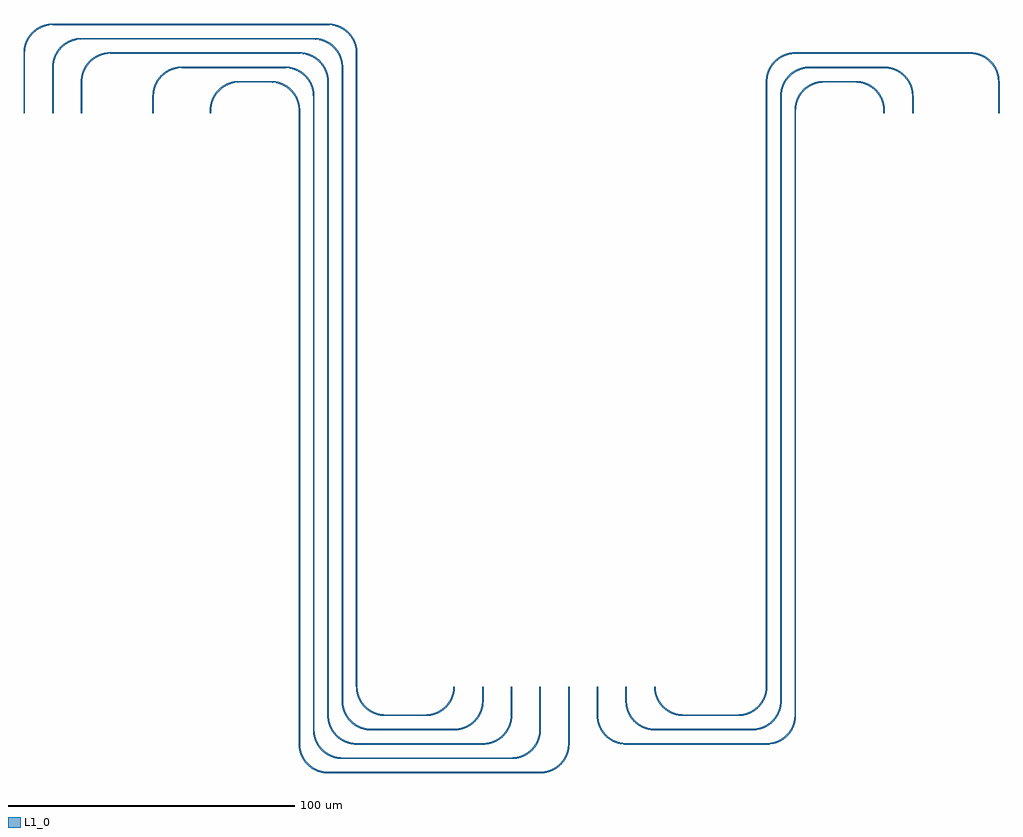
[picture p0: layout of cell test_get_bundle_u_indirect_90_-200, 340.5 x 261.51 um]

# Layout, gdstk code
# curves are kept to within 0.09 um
from math import pi, radians
import gdstk
lib = gdstk.Library(unit=1e-6, precision=1e-09)
def R(c, l, rs):  # rectangles x0, y0, x1, y1
    for r in rs: c.add(gdstk.rectangle(r[:2], r[2:], *l))
def P(c, l, *ps):  # polygons
    for p in ps: c.add(gdstk.Polygon(p, *l))
L1_0 = (1, 0)

bend_circular_cross_sec_ = lib.new_cell('bend_circular_cross_sec_81c7ebae')
P(bend_circular_cross_sec_, L1_0, [(0,-0.25),(1.967,-0.06),(3.013,0.203),(3.943,0.539),(5.685,1.471),(7.216,2.72),(8.479,4.24),(9.037,5.163),(9.461,6.057),(9.797,6.987),(10.06,8.033),(10.25,10),(9.75,10),(9.687,8.89),(9.516,7.878),(9.185,6.728),(8.79,5.781),(7.968,4.38),(6.924,3.136),(5.62,2.032),(4.219,1.21),(3.272,0.815),(2.122,0.484),(1.11,0.313),(0,0.25)])

straight_cross_sectionc_ = lib.new_cell('straight_cross_sectionc_981d968f')
R(straight_cross_sectionc_, L1_0, [(0,-0.25,1,0.25)])

c_straight_cross_sectionc_ = lib.new_cell('straight_cross_sectionc_3bfae81e')
R(c_straight_cross_sectionc_, L1_0, [(0,-0.25,11,0.25)])

taper_cross_sectioncros_ = lib.new_cell('taper_cross_sectioncros_b20f334d')
R(taper_cross_sectioncros_, L1_0, [(0,-0.25,10,0.25)])

c_straight_cross_sectionc__ = lib.new_cell('straight_cross_sectionc_7d43c82a')
R(c_straight_cross_sectionc__, L1_0, [(0,-0.25,201.01,0.25)])

c_straight_cross_sectionc___ = lib.new_cell('straight_cross_sectionc_c1e306bd')
R(c_straight_cross_sectionc___, L1_0, [(0,-0.25,74,0.25)])

c_straight_cross_sectionc____ = lib.new_cell('straight_cross_sectionc_2ac3342b')
R(c_straight_cross_sectionc____, L1_0, [(0,-0.25,20.01,0.25)])

c_straight_cross_sectionc_____ = lib.new_cell('straight_cross_sectionc_c2cb5401')
R(c_straight_cross_sectionc_____, L1_0, [(0,-0.25,6,0.25)])

c_straight_cross_sectionc______ = lib.new_cell('straight_cross_sectionc_0ec981f1')
R(c_straight_cross_sectionc______, L1_0, [(0,-0.25,36,0.25)])

c_straight_cross_sectionc_______ = lib.new_cell('straight_cross_sectionc_a4d4ab79')
R(c_straight_cross_sectionc_______, L1_0, [(0,-0.25,59,0.25)])

c_straight_cross_sectionc________ = lib.new_cell('straight_cross_sectionc_7b91e607')
R(c_straight_cross_sectionc________, L1_0, [(0,-0.25,15.01,0.25)])

c_straight_cross_sectionc_________ = lib.new_cell('straight_cross_sectionc_f73a8d03')
R(c_straight_cross_sectionc_________, L1_0, [(0,-0.25,66,0.25)])

c_straight_cross_sectionc__________ = lib.new_cell('straight_cross_sectionc_fb475268')
R(c_straight_cross_sectionc__________, L1_0, [(0,-0.25,44,0.25)])

c_straight_cross_sectionc___________ = lib.new_cell('straight_cross_sectionc_236e7ba1')
R(c_straight_cross_sectionc___________, L1_0, [(0,-0.25,10.01,0.25)])

c_straight_cross_sectionc____________ = lib.new_cell('straight_cross_sectionc_4dc3096f')
R(c_straight_cross_sectionc____________, L1_0, [(0,-0.25,16,0.25)])

c_straight_cross_sectionc_____________ = lib.new_cell('straight_cross_sectionc_ba59d4af')
R(c_straight_cross_sectionc_____________, L1_0, [(0,-0.25,81,0.25)])

c_straight_cross_sectionc______________ = lib.new_cell('straight_cross_sectionc_4d3a82f3')
R(c_straight_cross_sectionc______________, L1_0, [(0,-0.25,29,0.25)])

c_straight_cross_sectionc_______________ = lib.new_cell('straight_cross_sectionc_0009f424')
R(c_straight_cross_sectionc_______________, L1_0, [(0,-0.25,5.01,0.25)])

c_straight_cross_sectionc________________ = lib.new_cell('straight_cross_sectionc_a21244ff')
R(c_straight_cross_sectionc________________, L1_0, [(0,-0.25,21,0.25)])

c_straight_cross_sectionc_________________ = lib.new_cell('straight_cross_sectionc_aa92eca9')
R(c_straight_cross_sectionc_________________, L1_0, [(0,-0.25,96,0.25)])

c_straight_cross_sectionc__________________ = lib.new_cell('straight_cross_sectionc_eaa17bd6')
R(c_straight_cross_sectionc__________________, L1_0, [(0,-0.25,14,0.25)])

c_straight_cross_sectionc___________________ = lib.new_cell('straight_cross_sectionc_aca44847')
R(c_straight_cross_sectionc___________________, L1_0, [(0,-0.25,0.01,0.25)])

c_straight_cross_sectionc____________________ = lib.new_cell('straight_cross_sectionc_cb293eb2')
R(c_straight_cross_sectionc____________________, L1_0, [(0,-0.25,191.01,0.25)])

c_straight_cross_sectionc_____________________ = lib.new_cell('straight_cross_sectionc_45e74be2')
R(c_straight_cross_sectionc_____________________, L1_0, [(0,-0.25,49,0.25)])

c_straight_cross_sectionc______________________ = lib.new_cell('straight_cross_sectionc_ff50ec07')
R(c_straight_cross_sectionc______________________, L1_0, [(0,-0.25,26,0.25)])

c_straight_cross_sectionc_______________________ = lib.new_cell('straight_cross_sectionc_4966bfe5')
R(c_straight_cross_sectionc_______________________, L1_0, [(0,-0.25,34,0.25)])

c_straight_cross_sectionc________________________ = lib.new_cell('straight_cross_sectionc_015bde30')
R(c_straight_cross_sectionc________________________, L1_0, [(0,-0.25,61,0.25)])

c_straight_cross_sectionc_________________________ = lib.new_cell('straight_cross_sectionc_d4a4d71d')
R(c_straight_cross_sectionc_________________________, L1_0, [(0,-0.25,19,0.25)])

test_get_bundle_u_indire = lib.new_cell('test_get_bundle_u_indirect_90_-200')
test_get_bundle_u_indire.add(gdstk.Reference(bend_circular_cross_sec_, (-35,1), rotation=pi/2, x_reflection=True))
test_get_bundle_u_indire.add(gdstk.Reference(bend_circular_cross_sec_, (-14,11), x_reflection=True))
test_get_bundle_u_indire.add(gdstk.Reference(bend_circular_cross_sec_, (-4,-220.01), rotation=3*pi/2))
test_get_bundle_u_indire.add(gdstk.Reference(bend_circular_cross_sec_, (80,-230.01)))
test_get_bundle_u_indire.add(gdstk.Reference(straight_cross_sectionc_, (-35,0), rotation=pi/2))
test_get_bundle_u_indire.add(gdstk.Reference(c_straight_cross_sectionc_, (-25,11)))
test_get_bundle_u_indire.add(gdstk.Reference(taper_cross_sectioncros_, (-4,1), rotation=3*pi/2))
test_get_bundle_u_indire.add(gdstk.Reference(c_straight_cross_sectionc__, (-4,-9), rotation=3*pi/2))
test_get_bundle_u_indire.add(gdstk.Reference(taper_cross_sectioncros_, (-4,-220.01), rotation=pi/2))
test_get_bundle_u_indire.add(gdstk.Reference(c_straight_cross_sectionc___, (6,-230.01)))
test_get_bundle_u_indire.add(gdstk.Reference(c_straight_cross_sectionc____, (90,-220.01), rotation=pi/2))
test_get_bundle_u_indire.add(gdstk.Reference(bend_circular_cross_sec_, (-55,6), rotation=pi/2, x_reflection=True))
test_get_bundle_u_indire.add(gdstk.Reference(bend_circular_cross_sec_, (-9,16), x_reflection=True))
test_get_bundle_u_indire.add(gdstk.Reference(bend_circular_cross_sec_, (1,-215.01), rotation=3*pi/2))
test_get_bundle_u_indire.add(gdstk.Reference(bend_circular_cross_sec_, (70,-225.01)))
test_get_bundle_u_indire.add(gdstk.Reference(c_straight_cross_sectionc_____, (-55,0), rotation=pi/2))
test_get_bundle_u_indire.add(gdstk.Reference(c_straight_cross_sectionc______, (-45,16)))
test_get_bundle_u_indire.add(gdstk.Reference(taper_cross_sectioncros_, (1,6), rotation=3*pi/2))
test_get_bundle_u_indire.add(gdstk.Reference(c_straight_cross_sectionc__, (1,-4), rotation=3*pi/2))
test_get_bundle_u_indire.add(gdstk.Reference(taper_cross_sectioncros_, (1,-215.01), rotation=pi/2))
test_get_bundle_u_indire.add(gdstk.Reference(c_straight_cross_sectionc_______, (11,-225.01)))
test_get_bundle_u_indire.add(gdstk.Reference(c_straight_cross_sectionc________, (80,-215.01), rotation=pi/2))
test_get_bundle_u_indire.add(gdstk.Reference(bend_circular_cross_sec_, (-80,11), rotation=pi/2, x_reflection=True))
test_get_bundle_u_indire.add(gdstk.Reference(bend_circular_cross_sec_, (-4,21), x_reflection=True))
test_get_bundle_u_indire.add(gdstk.Reference(bend_circular_cross_sec_, (6,-210.01), rotation=3*pi/2))
test_get_bundle_u_indire.add(gdstk.Reference(bend_circular_cross_sec_, (60,-220.01)))
test_get_bundle_u_indire.add(gdstk.Reference(c_straight_cross_sectionc_, (-80,0), rotation=pi/2))
test_get_bundle_u_indire.add(gdstk.Reference(c_straight_cross_sectionc_________, (-70,21)))
test_get_bundle_u_indire.add(gdstk.Reference(taper_cross_sectioncros_, (6,11), rotation=3*pi/2))
test_get_bundle_u_indire.add(gdstk.Reference(c_straight_cross_sectionc__, (6,1), rotation=3*pi/2))
test_get_bundle_u_indire.add(gdstk.Reference(taper_cross_sectioncros_, (6,-210.01), rotation=pi/2))
test_get_bundle_u_indire.add(gdstk.Reference(c_straight_cross_sectionc__________, (16,-220.01)))
test_get_bundle_u_indire.add(gdstk.Reference(c_straight_cross_sectionc___________, (70,-210.01), rotation=pi/2))
test_get_bundle_u_indire.add(gdstk.Reference(bend_circular_cross_sec_, (-90,16), rotation=pi/2, x_reflection=True))
test_get_bundle_u_indire.add(gdstk.Reference(bend_circular_cross_sec_, (1,26), x_reflection=True))
test_get_bundle_u_indire.add(gdstk.Reference(bend_circular_cross_sec_, (11,-205.01), rotation=3*pi/2))
test_get_bundle_u_indire.add(gdstk.Reference(bend_circular_cross_sec_, (50,-215.01)))
test_get_bundle_u_indire.add(gdstk.Reference(c_straight_cross_sectionc____________, (-90,0), rotation=pi/2))
test_get_bundle_u_indire.add(gdstk.Reference(c_straight_cross_sectionc_____________, (-80,26)))
test_get_bundle_u_indire.add(gdstk.Reference(taper_cross_sectioncros_, (11,16), rotation=3*pi/2))
test_get_bundle_u_indire.add(gdstk.Reference(c_straight_cross_sectionc__, (11,6), rotation=3*pi/2))
test_get_bundle_u_indire.add(gdstk.Reference(taper_cross_sectioncros_, (11,-205.01), rotation=pi/2))
test_get_bundle_u_indire.add(gdstk.Reference(c_straight_cross_sectionc______________, (21,-215.01)))
test_get_bundle_u_indire.add(gdstk.Reference(c_straight_cross_sectionc_______________, (60,-205.01), rotation=pi/2))
test_get_bundle_u_indire.add(gdstk.Reference(bend_circular_cross_sec_, (-100,21), rotation=pi/2, x_reflection=True))
test_get_bundle_u_indire.add(gdstk.Reference(bend_circular_cross_sec_, (6,31), x_reflection=True))
test_get_bundle_u_indire.add(gdstk.Reference(bend_circular_cross_sec_, (16,-200.01), rotation=3*pi/2))
test_get_bundle_u_indire.add(gdstk.Reference(bend_circular_cross_sec_, (40,-210.01)))
test_get_bundle_u_indire.add(gdstk.Reference(c_straight_cross_sectionc________________, (-100,0), rotation=pi/2))
test_get_bundle_u_indire.add(gdstk.Reference(c_straight_cross_sectionc_________________, (-90,31)))
test_get_bundle_u_indire.add(gdstk.Reference(taper_cross_sectioncros_, (16,21), rotation=3*pi/2))
test_get_bundle_u_indire.add(gdstk.Reference(c_straight_cross_sectionc__, (16,11), rotation=3*pi/2))
test_get_bundle_u_indire.add(gdstk.Reference(taper_cross_sectioncros_, (16,-200.01), rotation=pi/2))
test_get_bundle_u_indire.add(gdstk.Reference(c_straight_cross_sectionc__________________, (26,-210.01)))
test_get_bundle_u_indire.add(gdstk.Reference(c_straight_cross_sectionc___________________, (50,-200.01), rotation=pi/2))
test_get_bundle_u_indire.add(gdstk.Reference(bend_circular_cross_sec_, (200,1), rotation=pi/2))
test_get_bundle_u_indire.add(gdstk.Reference(bend_circular_cross_sec_, (179,11), rotation=pi))
test_get_bundle_u_indire.add(gdstk.Reference(bend_circular_cross_sec_, (169,-210.01), rotation=3*pi/2, x_reflection=True))
test_get_bundle_u_indire.add(gdstk.Reference(bend_circular_cross_sec_, (110,-220.01), rotation=pi, x_reflection=True))
test_get_bundle_u_indire.add(gdstk.Reference(straight_cross_sectionc_, (200,0), rotation=pi/2))
test_get_bundle_u_indire.add(gdstk.Reference(c_straight_cross_sectionc_, (190,11), rotation=pi))
test_get_bundle_u_indire.add(gdstk.Reference(taper_cross_sectioncros_, (169,1), rotation=3*pi/2))
test_get_bundle_u_indire.add(gdstk.Reference(c_straight_cross_sectionc____________________, (169,-9), rotation=3*pi/2))
test_get_bundle_u_indire.add(gdstk.Reference(taper_cross_sectioncros_, (169,-210.01), rotation=pi/2))
test_get_bundle_u_indire.add(gdstk.Reference(c_straight_cross_sectionc_____________________, (159,-220.01), rotation=pi))
test_get_bundle_u_indire.add(gdstk.Reference(c_straight_cross_sectionc___________, (100,-210.01), rotation=pi/2))
test_get_bundle_u_indire.add(gdstk.Reference(bend_circular_cross_sec_, (210,6), rotation=pi/2))
test_get_bundle_u_indire.add(gdstk.Reference(bend_circular_cross_sec_, (174,16), rotation=pi))
test_get_bundle_u_indire.add(gdstk.Reference(bend_circular_cross_sec_, (164,-205.01), rotation=3*pi/2, x_reflection=True))
test_get_bundle_u_indire.add(gdstk.Reference(bend_circular_cross_sec_, (120,-215.01), rotation=pi, x_reflection=True))
test_get_bundle_u_indire.add(gdstk.Reference(c_straight_cross_sectionc_____, (210,0), rotation=pi/2))
test_get_bundle_u_indire.add(gdstk.Reference(c_straight_cross_sectionc______________________, (200,16), rotation=pi))
test_get_bundle_u_indire.add(gdstk.Reference(taper_cross_sectioncros_, (164,6), rotation=3*pi/2))
test_get_bundle_u_indire.add(gdstk.Reference(c_straight_cross_sectionc____________________, (164,-4), rotation=3*pi/2))
test_get_bundle_u_indire.add(gdstk.Reference(taper_cross_sectioncros_, (164,-205.01), rotation=pi/2))
test_get_bundle_u_indire.add(gdstk.Reference(c_straight_cross_sectionc_______________________, (154,-215.01), rotation=pi))
test_get_bundle_u_indire.add(gdstk.Reference(c_straight_cross_sectionc_______________, (110,-205.01), rotation=pi/2))
test_get_bundle_u_indire.add(gdstk.Reference(bend_circular_cross_sec_, (240,11), rotation=pi/2))
test_get_bundle_u_indire.add(gdstk.Reference(bend_circular_cross_sec_, (169,21), rotation=pi))
test_get_bundle_u_indire.add(gdstk.Reference(bend_circular_cross_sec_, (159,-200.01), rotation=3*pi/2, x_reflection=True))
test_get_bundle_u_indire.add(gdstk.Reference(bend_circular_cross_sec_, (130,-210.01), rotation=pi, x_reflection=True))
test_get_bundle_u_indire.add(gdstk.Reference(c_straight_cross_sectionc_, (240,0), rotation=pi/2))
test_get_bundle_u_indire.add(gdstk.Reference(c_straight_cross_sectionc________________________, (230,21), rotation=pi))
test_get_bundle_u_indire.add(gdstk.Reference(taper_cross_sectioncros_, (159,11), rotation=3*pi/2))
test_get_bundle_u_indire.add(gdstk.Reference(c_straight_cross_sectionc____________________, (159,1), rotation=3*pi/2))
test_get_bundle_u_indire.add(gdstk.Reference(taper_cross_sectioncros_, (159,-200.01), rotation=pi/2))
test_get_bundle_u_indire.add(gdstk.Reference(c_straight_cross_sectionc_________________________, (149,-210.01), rotation=pi))
test_get_bundle_u_indire.add(gdstk.Reference(c_straight_cross_sectionc___________________, (120,-200.01), rotation=pi/2))

lib.write_gds('test_get_bundle_u_indirect_90_-200.gds')
